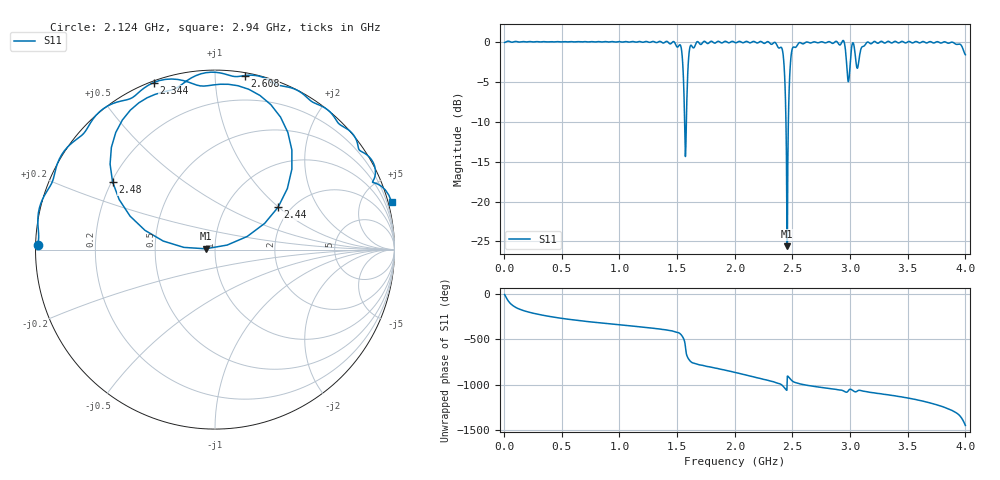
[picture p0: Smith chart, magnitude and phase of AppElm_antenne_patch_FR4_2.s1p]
! TOUCHSTONE file generated by CST MICROWAVE STUDIO
! Date and time: Tue Jun  7 20:32:27 2022
! Project name: AppElm_antenne_patch_FR4.cst
! Parameters = {L=45; W=58.5; e=0.035; h=1.6; lambda=0.190476; ls=120; w0=1.6; w1=0.533333; ws=120; y0=16; y1=23.8095}
! Header version: 2018
! Port assignment regex: !\s*Touchstone port\s*([0-9]+)\s*=\s*(CST MWS port|CST DS port)\s*([0-9]+|Zmin|Zmax)\s*\(\"(.*)\"\)(\s*mode\s*([0-9]+))?.*
! Touchstone port assignment:
! Touchstone port 1 = CST MWS port 1 ("")
# GHz S MA R 50
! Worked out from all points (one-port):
!   1000 points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, 4 MHz to 4 GHz, reference 50 ohm
!   lowest |S11| = -25.6 dB at 2.456 GHz (marker M1), VSWR 1.11, Z = 45 + j0.408 ohm
!   |S11| at or under -10 dB: 1.565 GHz to 1.58 GHz (15.16 MHz wide, 0.964 % of centre); 2.444 GHz to 2.465 GHz (21.12 MHz wide, 0.861 % of centre)
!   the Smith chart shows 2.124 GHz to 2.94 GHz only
!   S11 on the Smith chart (normalised r, x): 2.124 GHz: 0.01, +0.01; 2.344 GHz: 0.01, +0.70; 2.44 GHz: 1.72, +0.99; 2.48 GHz: 0.20, +0.29; 2.608 GHz: 0.02, +1.19; 2.94 GHz: -0.54, +7.53
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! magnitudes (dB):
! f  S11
! 4 MHz  -0.1
! 504 MHz  0.0
! 1.004 GHz  0.0
! 1.504 GHz  -0.7
! 1.536 GHz  -0.8
! 1.572 GHz  -14.4
! 1.584 GHz  -7.5
! 1.608 GHz  -0.9
! 1.624 GHz  -0.5
! 2.004 GHz  -0.1
! 2.124 GHz  -0.1
! 2.344 GHz  -0.1
! 2.412 GHz  -1.0
! 2.428 GHz  -3.1
! 2.44 GHz  -7.5
! 2.456 GHz  -25.6
! 2.468 GHz  -7.9
! 2.48 GHz  -3.3
! 2.504 GHz  -0.7
! 2.608 GHz  -0.1
! 2.94 GHz  0.2
! 2.98 GHz  -4.6
! 3.004 GHz  -2.1
! 3.024 GHz  -0.1
! 3.064 GHz  -3.3
! 3.152 GHz  0.0
! 3.504 GHz  0.0
! 4 GHz  -1.6
